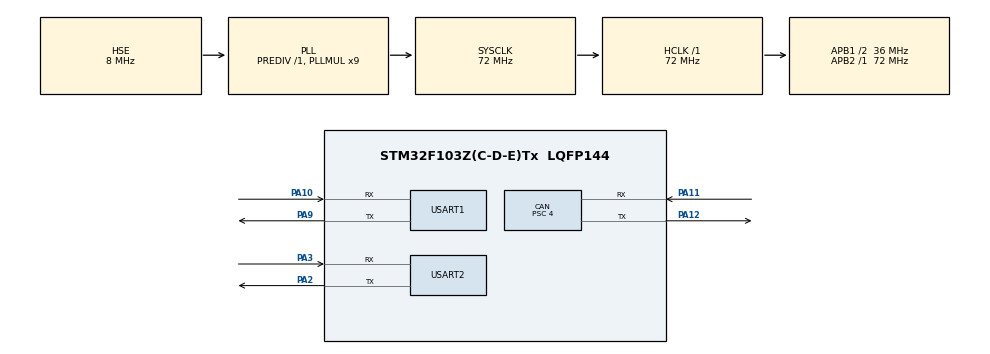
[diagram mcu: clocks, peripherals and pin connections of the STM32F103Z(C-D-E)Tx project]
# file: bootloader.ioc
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CAN.BS1=CAN_BS1_9TQ
CAN.BS2=CAN_BS2_8TQ
CAN.CalculateBaudRate=500000
CAN.CalculateTimeBit=2000
CAN.CalculateTimeQuantum=111.11111111111111
CAN.Prescaler=4
Mcu.Family=STM32F1
Mcu.Name=STM32F103Z(C-D-E)Tx
Mcu.Package=LQFP144
NVIC.PriorityGroup=NVIC_PRIORITYGROUP_4
NVIC.USART1_IRQn=true\:0\:0\:false\:false\:true\:true\:true\:true
NVIC.USART2_IRQn=true\:0\:0\:false\:false\:true\:true\:true\:true
OSC_IN.Mode=HSE-External-Oscillator
OSC_IN.Signal=RCC_OSC_IN
OSC_OUT.Mode=HSE-External-Oscillator
OSC_OUT.Signal=RCC_OSC_OUT
PA10.Mode=Asynchronous
PA10.Signal=USART1_RX
PA11.Mode=CAN_Activate
PA11.Signal=CAN_RX
PA12.Mode=CAN_Activate
PA12.Signal=CAN_TX
PA13.Mode=Serial_Wire
PA13.Signal=SYS_JTMS-SWDIO
PA14.Mode=Serial_Wire
PA14.Signal=SYS_JTCK-SWCLK
PA2.Mode=Asynchronous
PA2.Signal=USART2_TX
PA3.Mode=Asynchronous
PA3.Signal=USART2_RX
PA9.Mode=Asynchronous
PA9.Signal=USART1_TX
PC14-OSC32_IN.Mode=LSE-External-Oscillator
PC14-OSC32_IN.Signal=RCC_OSC32_IN
PC15-OSC32_OUT.Mode=LSE-External-Oscillator
PC15-OSC32_OUT.Signal=RCC_OSC32_OUT
ProjectManager.HeapSize=0x200
ProjectManager.StackSize=0x400
ProjectManager.TargetToolchain=MDK-ARM V5.32
RCC.AHBFreq_Value=72000000
RCC.APB1CLKDivider=RCC_HCLK_DIV2
RCC.APB1Freq_Value=36000000
RCC.APB1TimFreq_Value=72000000
RCC.APB2Freq_Value=72000000
RCC.APB2TimFreq_Value=72000000
RCC.HCLKFreq_Value=72000000
RCC.PLLMUL=RCC_PLL_MUL9
RCC.PLLSourceVirtual=RCC_PLLSOURCE_HSE
RCC.SYSCLKFreq_VALUE=72000000
RCC.SYSCLKSource=RCC_SYSCLKSOURCE_PLLCLK
RCC.USBFreq_Value=72000000
USART1.VirtualMode=VM_ASYNC
USART2.VirtualMode=VM_ASYNC
board=custom

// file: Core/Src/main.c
/* USER CODE BEGIN Header */
/**
 ******************************************************************************
 * @file           : main.c
 * @brief          : Main program body
 ******************************************************************************
 * @attention
 *
 * Copyright (c) 2024 STMicroelectronics.
 * All rights reserved.
 *
 * This software is licensed under terms that can be found in the LICENSE file
 * in the root directory of this software component.
 * If no LICENSE file comes with this software, it is provided AS-IS.
 *
 ******************************************************************************
 */
/* USER CODE END Header */
#include "main.h"
#include "can.h"
#include "usart.h"
#include "gpio.h"

/* USER CODE BEGIN Includes */
#include "boot_manager.h"
#include "inter_flashif.h"
#include "inter_flash_cfg.h"
#include "ymodem.h"
#include "common.h"
#include <stdio.h>

#include "canif.h"
#include "isotp.h"
#include "iso_tp_cfg.h"
/* USER CODE END Includes */

void SystemClock_Config(void);
/* USER CODE BEGIN PFP */
uint8_t cantp_run_flag = 0; // cantp  接收运行标志
/* USER CODE END PFP */
extern uint8_t flash_buf[2048];
/* USER CODE BEGIN 0 */
#define APP_ADDR 0x08003000 // 应用程序首地址定义
/* USER CODE END 0 */

int main(void)
{

    /* MCU Configuration--------------------------------------------------------*/

    /* Reset of all peripherals, Initializes the Flash interface and the Systick. */
    HAL_Init();

    /* Configure the system clock */
    SystemClock_Config();

    /* Initialize all configured peripherals */
    MX_GPIO_Init();
    MX_USART1_UART_Init();
    MX_CAN_Init();
    MX_USART2_UART_Init();
    /* USER CODE BEGIN 2 */
    printf("                    Bootloader\r\n");
    printf("----------------------------------------------------------------\r\n");
    printf("version:%02d.%02d.%02d\r\n", BOOT_VERSION_MAJOR, BOOT_VERSION_MINOR, BOOT_VERSION_PATCH);
    printf("flash cfg size:%d\r\n", sizeof(inter_flash_cfg_param_typeDef));
    printf("----------------------------------------------------------------\r\n");

    inter_flash_cfg_init(); // 内部flash 参数区参数校验

    canif_init(); // CAN底层功能初始化
    iso_tp_init(); // TP层功能初始化

    // 读取升级标志

    int8_t ret = inter_flash_cfg_get_app_update_flag();

    if (ret == 1) // 需要升级
    {
        printf("wait ota server\r\n");

        //发送应答可以进入升级模式
        uint8_t send_msg[8] = {0xBE, 0xAD, 0xBE, 0xEF, 0x00, 0xAA, 0xAA, 0xAA};
        send_msg[4] = 0x01;             //确认升级
        CAN1_Send_Msg(CAN_ID_CALL_OTA_ACK, (uint8_t *)send_msg, 8);
        cantp_run_flag = 1;
    }
    else if (ret == 0) // 不需要升级
    {
        printf("[BOOT]--->jump app\r\n\r\n");
        boot_check_stack2jump_app(INTER_FLASH_APP_ADDR); // 执行APP程序跳转
        cantp_run_flag = 0;
    }

    /* USER CODE END 2 */

    /* Infinite loop */
    /* USER CODE BEGIN WHILE */
    while (1)
    {
        if (cantp_run_flag == 1)
        {

            iso_tp_server(); // TP层服务

#if 0
            printf("Ymodule&TPClient is run,waiting for upgrade...\r\n");
            // Ymodem 串口协议测试
            extern uint8_t aFileName[FILE_NAME_LENGTH];

            uint8_t number[11] = {0};
            uint32_t size = 0;
            COM_StatusTypeDef result;
            result = Ymodem_Receive(&size);
            if (result == COM_OK)
            {
                printf((uint8_t *)"\n\n\r Programming Completed Successfully!\n\r--------------------------------\r\n Name: %s", aFileName);

                Int2Str(number, size);
                printf("Size: %dBytes", number);

                inter_flash_cfg_set_app_update_flag(0); // 升级完成后，清除升级标志
                printf("--->jump app\r\n");
                boot_check_stack2jump_app(INTER_FLASH_APP_ADDR); // 执行APP程序跳转
            }
            else
            {
                printf("=---<ret:%d\r\n", result);
            }

#endif
        }
        else
        {
            HAL_Delay(1000);
            printf("system error\r\n");
            printf("reboot...\r\n");
            HAL_Delay(2000);

            // 重启
            NVIC_SystemReset();
        }
        /* USER CODE END WHILE */

    }
}

void SystemClock_Config(void)
{
    RCC_OscInitTypeDef RCC_OscInitStruct = {0};
    RCC_ClkInitTypeDef RCC_ClkInitStruct = {0};

    /** Initializes the RCC Oscillators according to the specified parameters
     * in the RCC_OscInitTypeDef structure.
     */
    RCC_OscInitStruct.OscillatorType = RCC_OSCILLATORTYPE_HSE;
    RCC_OscInitStruct.HSEState = RCC_HSE_ON;
    RCC_OscInitStruct.HSEPredivValue = RCC_HSE_PREDIV_DIV1;
    RCC_OscInitStruct.HSIState = RCC_HSI_ON;
    RCC_OscInitStruct.PLL.PLLState = RCC_PLL_ON;
    RCC_OscInitStruct.PLL.PLLSource = RCC_PLLSOURCE_HSE;
    RCC_OscInitStruct.PLL.PLLMUL = RCC_PLL_MUL9;
    if (HAL_RCC_OscConfig(&RCC_OscInitStruct) != HAL_OK)
    {
        Error_Handler();
    }

    /** Initializes the CPU, AHB and APB buses clocks
     */
    RCC_ClkInitStruct.ClockType = RCC_CLOCKTYPE_HCLK | RCC_CLOCKTYPE_SYSCLK | RCC_CLOCKTYPE_PCLK1 | RCC_CLOCKTYPE_PCLK2;
    RCC_ClkInitStruct.SYSCLKSource = RCC_SYSCLKSOURCE_PLLCLK;
    RCC_ClkInitStruct.AHBCLKDivider = RCC_SYSCLK_DIV1;
    RCC_ClkInitStruct.APB1CLKDivider = RCC_HCLK_DIV2;
    RCC_ClkInitStruct.APB2CLKDivider = RCC_HCLK_DIV1;

    if (HAL_RCC_ClockConfig(&RCC_ClkInitStruct, FLASH_LATENCY_2) != HAL_OK)
    {
        Error_Handler();
    }
}

void Error_Handler(void)
{
    __disable_irq();
    while (1)
    {
    }
}
